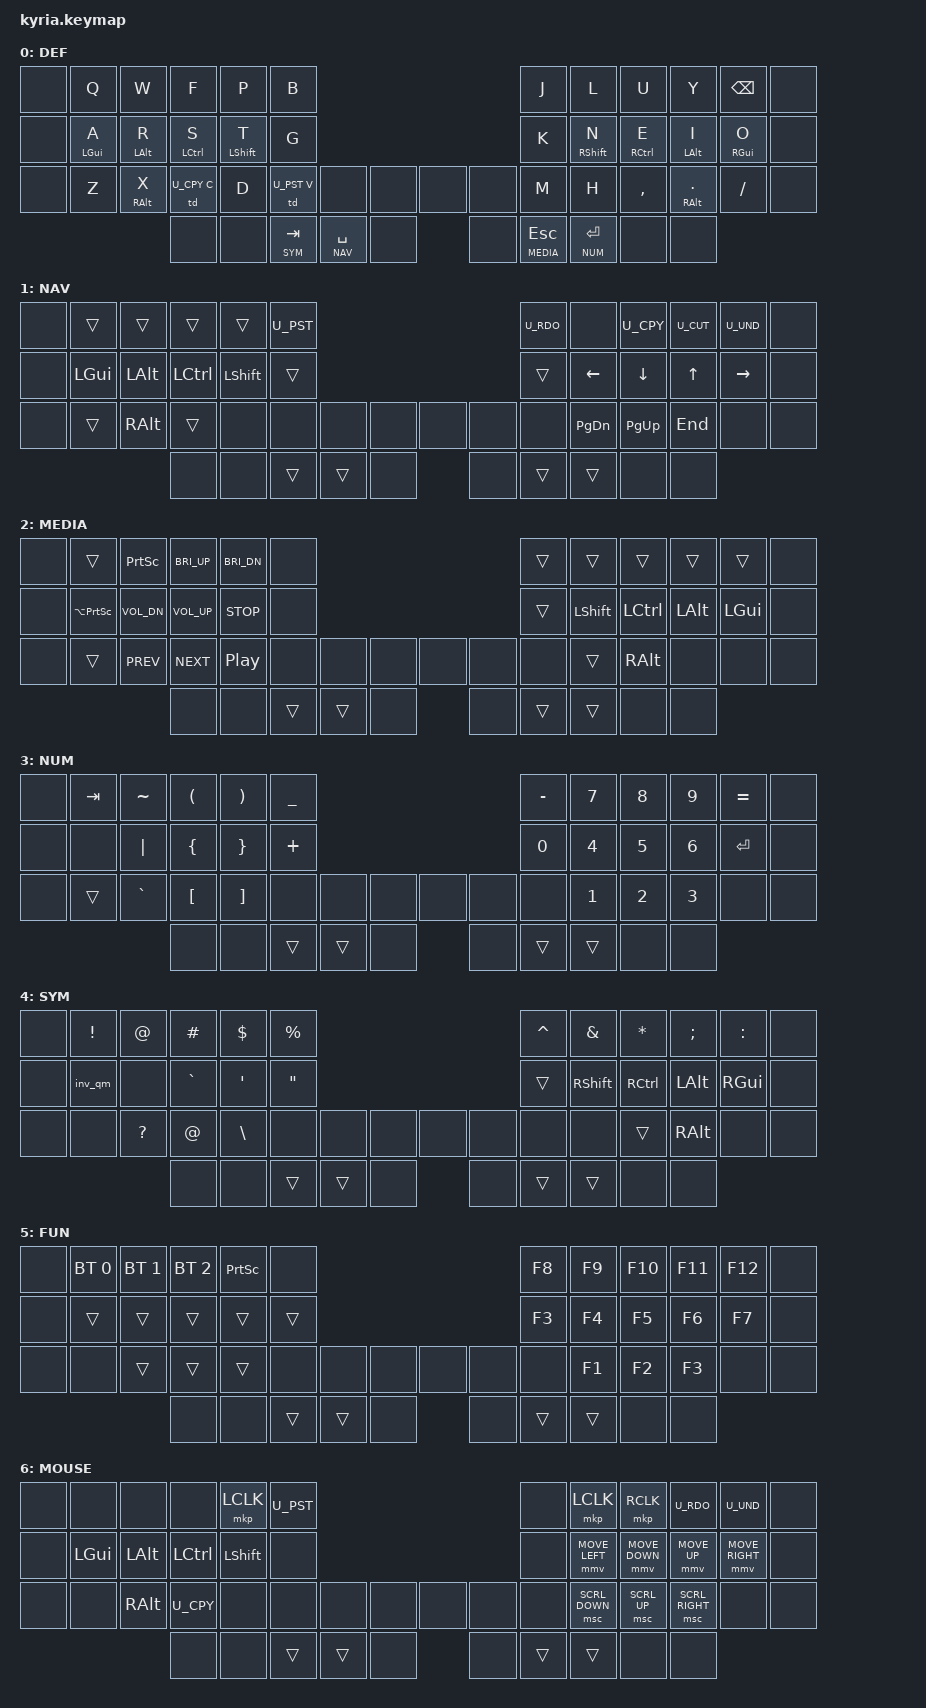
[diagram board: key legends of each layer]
/*
 * Copyright (c) 2020 The ZMK Contributors
 *
 * SPDX-License-Identifier: MIT
 */
#include <behaviors.dtsi>
#include <dt-bindings/zmk/bt.h>
#include <dt-bindings/zmk/keys.h>
#include "keypos_def/50keys.h"

#define KYRIA
#include "utilities.dtsi"
#include "mouse.dtsi"
#include "behaviors.dtsi"
#include "combos.dtsi"
#include "macros.dtsi"


/ {
  cond_layers {
      compatible = "zmk,conditional-layers";
      mouse_layer {
          if-layers = <SYM NUM>;
          then-layer = <MOUSE>;
      };

      fun_layer {
          if-layers = <NAV MEDIA>;
          then-layer = <FUN>;
      };
  };

  keymap {
    compatible = "zmk,keymap";

    default {
      display-name = "DEF";
      bindings = <
      &none &kp Q         &kp W         &kp F          &kp P          &kp B                                    &kp J         &kp L          &kp U          &kp Y            &kp BSPC     &none
      &none &hm_o LGUI A  &hm_o LALT R  &hm_m LCTL S   &hm_i LSHFT T  &kp G                                    &kp K         &hm_i RSHFT N  &hm_m RCTL E   &hm_o LALT I     &hm_o RGUI O &none
      &none &kp Z         &hm_o RALT X  &td U_CPY C    &kp D          &td U_PST V      &none &none &none &none &kp M         &kp H          &kp COMMA      &hm_o RALT DOT   &kp FSLH     &none
                                        &none &none    &lt SYM TAB    &lt NAV SPC            &none &none       &lt MEDIA ESC &lt NUM RET    &none &none
      >;
    };
    
    navigation {
      display-name = "NAV";
      bindings = <
      &none &trans        &trans        &trans         &trans         &kp U_PST                                &kp U_RDO     &none          &kp U_CPY      &kp U_CUT        &kp U_UND    &none
      &none &kp LGUI      &kp LALT      &kp LCTRL      &kp LSHFT      &trans                                   &trans        &kp LEFT       &kp DOWN       &kp UP           &kp RIGHT    &none
      &none &trans        &kp RALT      &trans         &none          &none            &none &none &none &none &none         &kp PG_DN      &kp PG_UP      &kp END          &none        &none  
                                        &none &none    &trans         &trans                 &none &none       &trans        &trans    &none &none
      >;
    };

    media {
      display-name = "MEDIA";
      bindings = <
      &none &trans        &kp PSCRN     &kp C_BRI_UP   &kp C_BRI_DN   &none                                    &trans        &trans         &trans         &trans           &trans       &none
      &none &kp LA(PSCRN) &kp C_VOL_DN  &kp C_VOL_UP   &kp C_STOP     &none                                    &trans        &kp LSHFT      &kp LCTRL      &kp LALT         &kp LGUI     &none
      &none &trans        &kp C_PREV    &kp C_NEXT     &kp C_PP       &none            &none &none &none &none &none         &trans         &kp RALT       &none            &none        &none
                                        &none &none    &trans         &trans                 &none &none       &trans        &trans    &none &none
      >;
    };

    numbers {
      display-name = "NUM";
      bindings = <
      &none &kp TAB   &kp TILDE &kp LPAR   &kp RPAR  &kp UNDER                       &kp MINUS  &kp N7     &kp N8     &kp N9    &kp EQUAL &none
      &none &none     &kp PIPE  &kp LBRC   &kp RBRC  &kp PLUS                        &kp N0     &kp N4     &kp N5     &kp N6    &kp RET   &none
      &none &trans    &kp GRAVE &kp LBKT   &kp RBKT  &none  &none &none &none &none  &none      &kp N1     &kp N2     &kp N3    &none     &none
             &none &none    &trans         &trans                 &none &none       &trans        &trans    &none &none
      >;
    };

    symbols {
      display-name = "SYM";
      bindings = <
      &none &kp EXCL   &kp AT         &kp HASH      &kp DOLLAR &kp PRCNT                      &kp CARET &kp AMPS &kp STAR   &kp SEMI  &kp COLON &none
      &none &inv_qm &none             &kp GRAVE     &kp SQT    &kp DQT                        &trans  &kp RSHFT  &kp RCTRL  &kp LALT  &kp RGUI  &none
      &none &none      &kp QMARK      &kp AT_SIGN   &kp BSLH   &none &none &none &none &none  &none   &none      &trans     &kp RALT  &none     &none
             &none &none    &trans         &trans                 &none &none       &trans        &trans    &none &none
      >;
    };

    functions {
      display-name = "FUN";
      bindings = <
      &none &bt BT_SEL 0 &bt BT_SEL 1 &bt BT_SEL 2  &kp PSCRN      &none                                  &kp F8         &kp F9     &kp F10   &kp F11   &kp F12 &none
      &none &trans       &trans       &trans        &trans         &trans                                 &kp F3         &kp F4     &kp F5    &kp F6    &kp F7  &none 
      &none &none        &trans       &trans        &trans         &none   &none &none &none &none        &none          &kp F1     &kp F2    &kp F3    &none   &none 
             &none &none    &trans         &trans                 &none &none       &trans        &trans    &none &none
                                              /* &rst_boot 0 0  &trans         &trans          &rst_boot 0 0 */ 
      >;
    };

    mouse {
      display-name = "MOUSE";
      bindings = <
      &none &none     &none     &none      &mkp LCLK  &kp U_PST                        &none           &mkp LCLK       &mkp RCLK       &kp U_RDO        &kp U_UND       &none
      &none &kp LGUI  &kp LALT  &kp LCTRL  &kp LSHFT  &none                            &none           &mmv MOVE_LEFT  &mmv MOVE_DOWN  &mmv MOVE_UP     &mmv MOVE_RIGHT &none
      &none &none     &kp RALT  &kp U_CPY  &none      &none  &none &none &none &none   &none           &msc SCRL_DOWN  &msc SCRL_UP    &msc SCRL_RIGHT  &none           &none 
             &none &none    &trans         &trans                 &none &none       &trans        &trans    &none &none
      >;
    };

  };
};


